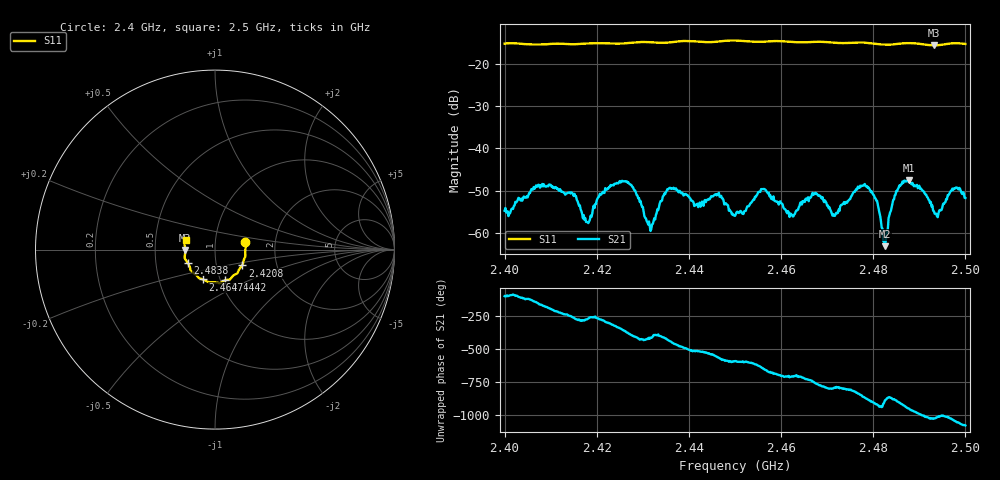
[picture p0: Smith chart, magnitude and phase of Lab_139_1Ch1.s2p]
# Hz S RI R 50
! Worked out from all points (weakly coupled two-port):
!   601 points, 2.4 GHz to 2.5 GHz, reference 50 ohm
!   highest |S21| = -47.58 dB at 2.4878 GHz (marker M1); lowest = -63.2 dB at 2.4825 GHz (marker M2)
!   lowest |S11| = -15.6 dB at 2.4932 GHz (marker M3), VSWR 1.40, Z = 35.8 - j0.101 ohm
!   |S11| at or under -10 dB: start of sweep to end of sweep
!   S12 and S22 are empty: the file has one direction only
!   S11 on the Smith chart (normalised r, x): 2.4 GHz: 1.40, +0.12; 2.4208 GHz: 1.33, -0.24; 2.4442 GHz: 1.05, -0.37; 2.4647 GHz: 0.83, -0.28; 2.4838 GHz: 0.73, -0.11; 2.5 GHz: 0.72, +0.08
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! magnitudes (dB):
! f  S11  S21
! 2.4 GHz  -15.2  -54.8
! 2.4098 GHz  -15.3  -48.6
! 2.4167 GHz  -15.3  -54.9
! 2.4208 GHz  -15.1  -51.0
! 2.4267 GHz  -15.1  -48.1
! 2.4317 GHz  -14.9  -59.6
! 2.4333 GHz  -15.0  -54.6
! 2.4362 GHz  -14.9  -49.6
! 2.4442 GHz  -14.9  -52.2
! 2.45 GHz  -14.5  -56.0
! 2.4562 GHz  -14.8  -49.6
! 2.4623 GHz  -14.8  -55.8
! 2.4647 GHz  -14.9  -52.5
! 2.4667 GHz  -14.8  -51.1
! 2.4717 GHz  -15.0  -56.0
! 2.4785 GHz  -15.0  -49.0
! 2.4825 GHz  -15.5  -63.2
! 2.4833 GHz  -15.5  -56.5
! 2.4838 GHz  -15.4  -54.8
! 2.4878 GHz  -15.1  -47.6
! 2.4932 GHz  -15.6  -54.9
! 2.5 GHz  -15.3  -51.8
